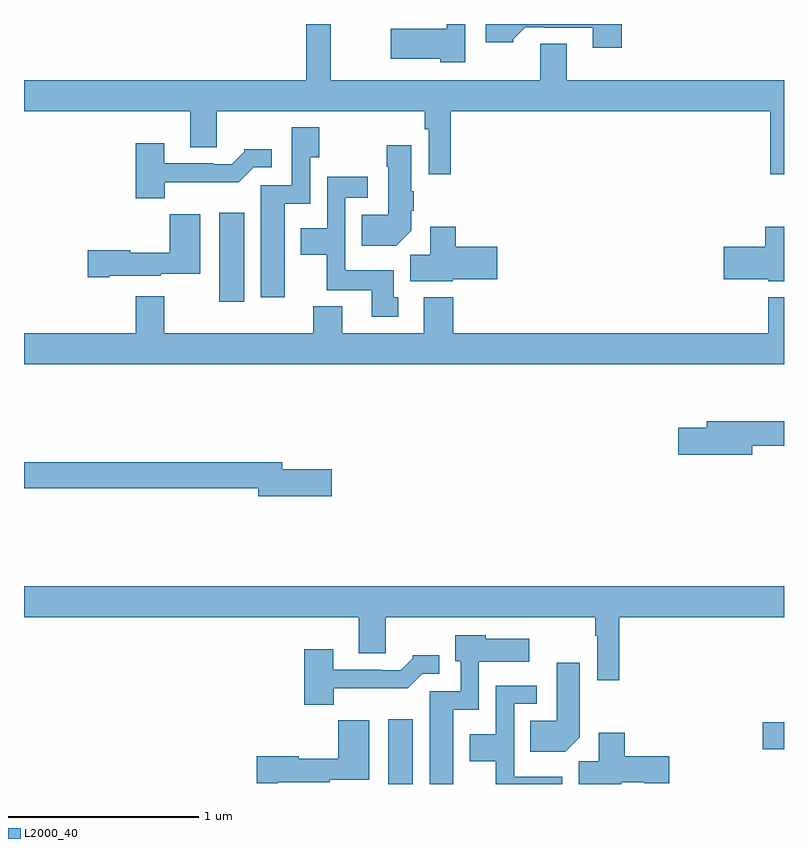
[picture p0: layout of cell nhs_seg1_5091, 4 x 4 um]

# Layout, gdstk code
import gdstk
lib = gdstk.Library(unit=1e-6, precision=1e-09)
def R(c, l, rs):  # rectangles x0, y0, x1, y1
    for r in rs: c.add(gdstk.rectangle(r[:2], r[2:], *l))
def P(c, l, *ps):  # polygons
    for p in ps: c.add(gdstk.Polygon(p, *l))
L2000_40 = (2000, 40)

nhs_seg1_5091 = lib.new_cell('nhs_seg1_5091')
R(nhs_seg1_5091, L2000_40, [(388.916,540.199,389.047,540.541), (390.888,540.382,391,540.524), (388.028,542.736,388.159,543.205)])
P(nhs_seg1_5091, L2000_40, [(389.322,544.199),(389.226,544.199),(389.226,544.174),(388.929,544.174),(388.929,544.016),(389.19,544.016),(389.19,543.998),(389.322,543.998)],
  [(389.246,543.74),(390.928,543.74),(390.928,543.408),(391,543.408),(391,543.904),(389.857,543.904),(389.857,544.094),(389.717,544.094),(389.717,543.904),(388.615,543.904),(388.615,544.199),(388.486,544.199),(388.486,543.904),(387,543.904),(387,543.74),(387.875,543.74),(387.875,543.55),(388.015,543.55),(388.015,543.74),(389.11,543.74),(389.11,543.644),(389.13,543.644),(389.13,543.408),(389.246,543.408)],
  [(390.146,544.199),(389.43,544.199),(389.43,544.103),(389.574,544.103),(389.574,544.118),(389.638,544.182),(389.737,544.182),(389.737,544.179),(389.993,544.179),(389.993,544.074),(390.146,544.074)],
  [(388.372,543.254),(388.506,543.254),(388.506,543.499),(388.554,543.499),(388.554,543.655),(388.41,543.655),(388.41,543.351),(388.247,543.351),(388.247,542.76),(388.372,542.76)],
  [(387.742,543.366),(388.131,543.366),(388.209,543.444),(388.303,543.444),(388.303,543.541),(388.158,543.541),(388.158,543.526),(388.094,543.462),(387.995,543.462),(387.995,543.465),(387.739,543.465),(387.739,543.571),(387.587,543.571),(387.587,543.281),(387.742,543.281)],
  [(389.038,543.11),(389.038,543.217),(389.051,543.217),(389.051,543.32),(389.038,543.32),(389.038,543.562),(388.909,543.562),(388.909,543.449),(388.916,543.449),(388.916,543.196),(388.777,543.196),(388.777,543.032),(388.96,543.032)],
  [(388.969,542.76),(388.945,542.76),(388.945,542.902),(388.692,542.902),(388.692,543.285),(388.81,543.285),(388.81,543.394),(388.596,543.394),(388.596,543.124),(388.457,543.124),(388.457,542.984),(388.594,542.984),(388.594,542.798),(388.829,542.798),(388.829,542.658),(388.969,542.658)],
  [(387.448,542.873),(387.72,542.873),(387.72,542.885),(387.928,542.885),(387.928,543.199),(387.766,543.199),(387.766,542.995),(387.558,542.995),(387.558,543.008),(387.336,543.008),(387.336,542.866),(387.448,542.866)],
  [(391,543.133),(390.902,543.133),(390.902,543.026),(390.684,543.026),(390.684,542.855),(390.918,542.855),(390.918,542.846),(391,542.846)],
  [(389.256,542.855),(389.491,542.855),(389.491,543.026),(389.273,543.026),(389.273,543.133),(389.138,543.133),(389.138,542.984),(389.033,542.984),(389.033,542.846),(389.256,542.846)],
  [(391,542.761),(390.917,542.761),(390.917,542.572),(389.258,542.572),(389.258,542.761),(389.105,542.761),(389.105,542.572),(388.675,542.572),(388.675,542.713),(388.523,542.713),(388.523,542.572),(387.739,542.572),(387.739,542.767),(387.587,542.767),(387.587,542.572),(387,542.572),(387,542.408),(391,542.408)],
  [(390.832,541.978),(391,541.978),(391,542.107),(390.593,542.107),(390.593,542.073),(390.444,542.073),(390.444,541.931),(390.832,541.931)],
  [(388.621,541.856),(388.36,541.856),(388.36,541.892),(387,541.892),(387,541.756),(388.232,541.756),(388.232,541.714),(388.621,541.714)],
  [(390.134,541.076),(391,541.076),(391,541.24),(387,541.24),(387,541.076),(388.763,541.076),(388.763,540.886),(388.903,540.886),(388.903,541.076),(390.006,541.076),(390.006,540.98),(390.018,540.98),(390.018,540.744),(390.134,540.744)],
  [(389.26,540.59),(389.394,540.59),(389.394,540.842),(389.659,540.842),(389.659,540.964),(389.43,540.964),(389.43,540.982),(389.27,540.982),(389.27,540.846),(389.298,540.846),(389.298,540.687),(389.135,540.687),(389.135,540.199),(389.26,540.199)],
  [(388.63,540.702),(389.019,540.702),(389.097,540.78),(389.185,540.78),(389.185,540.877),(389.046,540.877),(389.046,540.862),(388.982,540.798),(388.883,540.798),(388.883,540.801),(388.627,540.801),(388.627,540.907),(388.475,540.907),(388.475,540.617),(388.63,540.617)],
  [(389.926,540.446),(389.926,540.838),(389.804,540.838),(389.804,540.532),(389.665,540.532),(389.665,540.368),(389.848,540.368)],
  [(389.833,540.238),(389.58,540.238),(389.58,540.621),(389.698,540.621),(389.698,540.717),(389.484,540.717),(389.484,540.46),(389.345,540.46),(389.345,540.32),(389.482,540.32),(389.482,540.199),(389.833,540.199)],
  [(388.336,540.209),(388.608,540.209),(388.608,540.221),(388.816,540.221),(388.816,540.535),(388.654,540.535),(388.654,540.331),(388.446,540.331),(388.446,540.344),(388.224,540.344),(388.224,540.202),(388.336,540.202)],
  [(390.144,540.209),(390.264,540.209),(390.264,540.202),(390.397,540.202),(390.397,540.344),(390.161,540.344),(390.161,540.469),(390.026,540.469),(390.026,540.32),(389.921,540.32),(389.921,540.199),(390.144,540.199)])

lib.write_gds('nhs_seg1_5091.gds')
